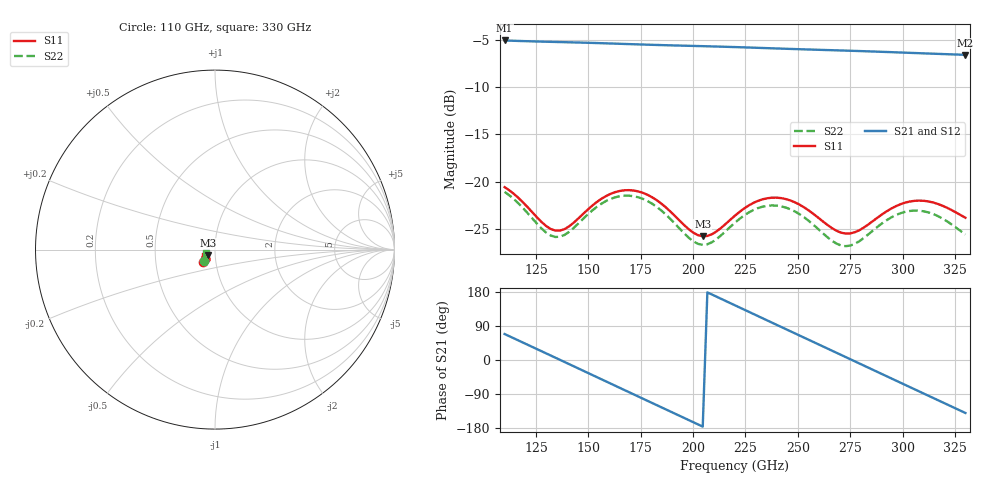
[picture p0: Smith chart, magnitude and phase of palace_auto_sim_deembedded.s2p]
! Created with skrf 1.11.0 (http://scikit-rf.org).
# GHz S DB R 50.0
!freq dBS11 angS11 dBS21 angS21 dBS12 angS12 dBS22 angS22
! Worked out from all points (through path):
!   101 points, 110 GHz to 330 GHz, reference 50 ohm
!   highest |S21| = -5.04 dB at 110 GHz (marker M1); lowest = -6.6 dB at 330 GHz (marker M2)
!   group delay of S21, straight-line fit = 7.18 ps
!   lowest |S11| = -25.8 dB at 204.6 GHz (marker M3), VSWR 1.11, Z = 46.1 - j3.02 ohm
!   |S11| at or under -10 dB: start of sweep to end of sweep
!   |S22| runs from -26.8 to -21.1 dB; largest |S21 - S12| = 6.2e-14
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110  -20.58 -133.7  -5.04 68.6  -5.04 68.6  -21.08 -136.1
121  -22.70 -142.2  -5.12 40.2  -5.12 40.2  -23.33 -144.9
129.8  -24.69 -137.9  -5.17 17.6  -5.17 17.6  -25.39 -140.1
136.4  -25.18 -127.7  -5.21 0.5  -5.21 0.5  -25.83 -129.6
147.4  -23.43 -117.5  -5.27 -28.0  -5.27 -28.0  -23.95 -120.1
158.4  -21.53 -123.2  -5.34 -56.5  -5.34 -56.5  -22.05 -127.0
167.2  -20.91 -133.0  -5.41 -79.2  -5.41 -79.2  -21.48 -137.5
176  -21.18 -143.3  -5.47 -102.0  -5.47 -102.0  -21.82 -148.5
184.8  -22.32 -151.4  -5.53 -124.7  -5.53 -124.7  -23.05 -157.1
195.8  -24.61 -151.9  -5.59 -153.1  -5.59 -153.1  -25.49 -157.7
204.6  -25.79 -140.5  -5.64 -175.8  -5.64 -175.8  -26.69 -145.7
220  -23.60 -126.4  -5.74 144.3  -5.74 144.3  -24.34 -132.3
231  -22.03 -132.6  -5.82 115.8  -5.82 115.8  -22.79 -139.6
239.8  -21.69 -141.0  -5.89 93.1  -5.89 93.1  -22.53 -148.8
248.6  -22.19 -149.0  -5.95 70.3  -5.95 70.3  -23.15 -157.4
257.4  -23.41 -153.3  -6.01 47.6  -6.01 47.6  -24.56 -162.0
275  -25.48 -139.6  -6.13 2.2  -6.13 2.2  -26.77 -145.8
283.8  -24.51 -130.9  -6.19 -20.6  -6.19 -20.6  -25.55 -137.0
294.8  -22.83 -131.3  -6.28 -49.0  -6.28 -49.0  -23.76 -138.9
303.6  -22.10 -137.0  -6.35 -71.7  -6.35 -71.7  -23.10 -145.8
312.4  -22.09 -143.8  -6.42 -94.4  -6.42 -94.4  -23.26 -153.5
330  -23.82 -149.0  -6.56 -139.8  -6.56 -139.8  -25.60 -157.8
